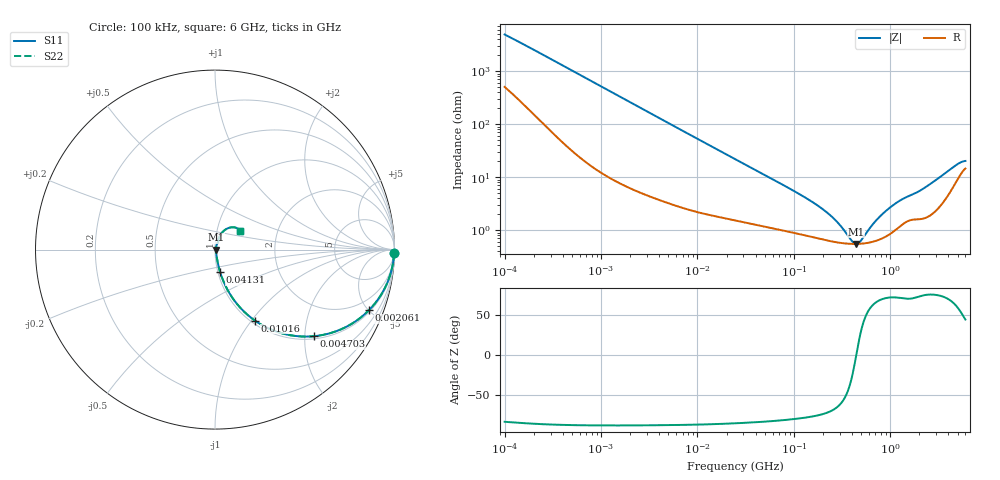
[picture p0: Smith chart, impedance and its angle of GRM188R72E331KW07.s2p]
!Murata Part Number: GRM188R72E331KW07
!These Parameters are Measured in Series Mode Connection
!Data Generated on Mar 30, 2021
!  o--ll--o
!Port1  Port2
!  o------o
!Operation Temp=25[degC], DC Bias Voltage=0[V]
!Freq. Start=100[kHz] Stop=6[GHz] 401[Steps]
# Hz S RI R 50
!Freq.(Hz) S11(Real) S11(Imag) S21(Real) S21(Imag) S12(Real) S12(Imag) S22(Real) S22(Imag)
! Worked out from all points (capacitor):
!   401 points, 100 kHz to 6 GHz, reference 50 ohm
!   read as one part in series: C = 320 pF near 105.7 kHz
!   lowest |Z| = 552 mohm at 439.9 MHz (marker M1)
!   series resonance near 444 MHz, so ESL is about 400 pH
!   S11 on the Smith chart (normalised r, x): 100 kHz: 11, -98; 2.061 MHz: 1.12, -5.02; 4.703 MHz: 1.07, -2.22; 10.16 MHz: 1.04, -1.04; 41.31 MHz: 1.03, -0.26; 6 GHz: 1.29, +0.28
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100000  0.9975 -0.0202  0.0025 0.0202  0.0025 0.0202  0.9975 -0.0202
631452  0.9819 -0.1205  0.0181 0.1205  0.0181 0.1205  0.9819 -0.1205
1221882  0.9421 -0.2223  0.0579 0.2223  0.0579 0.2223  0.9421 -0.2223
2060590  0.8571 -0.3382  0.1429 0.3382  0.1429 0.3382  0.8571 -0.3382
3987316  0.6272 -0.4695  0.3728 0.4695  0.3728 0.4695  0.6272 -0.4695
4702761  0.5506 -0.4826  0.4494 0.4826  0.4494 0.4826  0.5506 -0.4826
6724235  0.3824 -0.469  0.6176 0.469  0.6176 0.469  0.3824 -0.469
1.015836e7  0.2221 -0.3953  0.7779 0.3953  0.7779 0.3953  0.2221 -0.3953
1.534632e7  0.1195 -0.299  0.8805 0.299  0.8805 0.299  0.1195 -0.299
2.517799e7  0.0565 -0.1979  0.9435 0.1979  0.9435 0.1979  0.0565 -0.1979
4.130835e7  0.0287 -0.1259  0.9713 0.1259  0.9713 0.1259  0.0287 -0.1259
1.546735e8  0.00845 -0.0329  0.9916 0.0329  0.9916 0.0329  0.00845 -0.0329
2.537656e8  0.00629 -0.0159  0.9937 0.0159  0.9937 0.0159  0.00629 -0.0159
3.940568e8  0.0055 -0.0033  0.9945 0.0033  0.9945 0.0033  0.0055 -0.0033
4.398862e8  0.00548 -0.000256  0.9945 0.000256  0.9945 0.000256  0.00548 -0.000256
4.910456e8  0.00553 0.00281  0.9945 -0.00281  0.9945 -0.00281  0.00553 0.00281
7.021207e8  0.0064 0.0133  0.9936 -0.0133  0.9936 -0.0133  0.0064 0.0133
9.76689e8  0.00884 0.0244  0.9912 -0.0244  0.9912 -0.0244  0.00884 0.0244
2.10973e9  0.019 0.0537  0.981 -0.0537  0.981 -0.0537  0.019 0.0537
3.187187e9  0.0339 0.0878  0.9661 -0.0878  0.9661 -0.0878  0.0339 0.0878
4.814911e9  0.0924 0.1242  0.9076 -0.1242  0.9076 -0.1242  0.0924 0.1242
6e9  0.1398 0.1053  0.8602 -0.1053  0.8602 -0.1053  0.1398 0.1053
